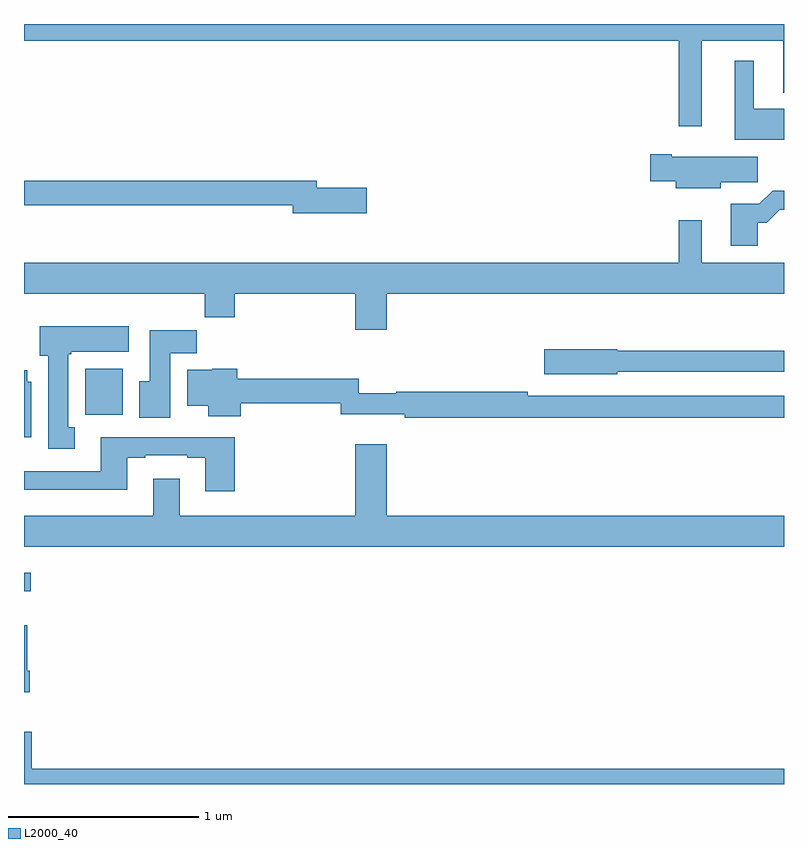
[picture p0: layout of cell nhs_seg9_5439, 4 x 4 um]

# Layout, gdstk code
import gdstk
lib = gdstk.Library(unit=1e-6, precision=1e-09)
def R(c, l, rs):  # rectangles x0, y0, x1, y1
    for r in rs: c.add(gdstk.rectangle(r[:2], r[2:], *l))
def P(c, l, *ps):  # polygons
    for p in ps: c.add(gdstk.Polygon(p, *l))
L2000_40 = (2000, 40)

nhs_seg9_5439 = lib.new_cell('nhs_seg9_5439')
R(nhs_seg9_5439, L2000_40, [(427,1201.515,427.036,1201.612), (427.322,1202.444,427.519,1202.686)])
P(nhs_seg9_5439, L2000_40, [(430.567,1204.412),(430.997,1204.412),(430.997,1204.139),(431,1204.139),(431,1204.5),(427,1204.5),(427,1204.412),(430.446,1204.412),(430.446,1203.963),(430.567,1203.963)],
  [(431,1204.054),(430.84,1204.054),(430.84,1204.306),(430.742,1204.306),(430.742,1203.89),(431,1203.89)],
  [(430.666,1203.667),(430.861,1203.667),(430.861,1203.802),(430.408,1203.802),(430.408,1203.815),(430.296,1203.815),(430.296,1203.673),(430.43,1203.673),(430.43,1203.635),(430.666,1203.635)],
  [(428.803,1203.638),(428.542,1203.638),(428.542,1203.674),(427,1203.674),(427,1203.546),(428.414,1203.546),(428.414,1203.503),(428.803,1203.503)],
  [(430.861,1203.455),(430.91,1203.455),(430.977,1203.522),(431,1203.522),(431,1203.623),(430.94,1203.623),(430.87,1203.553),(430.721,1203.553),(430.721,1203.333),(430.861,1203.333)],
  [(428.908,1203.08),(431,1203.08),(431,1203.244),(430.567,1203.244),(430.567,1203.466),(430.446,1203.466),(430.446,1203.244),(427,1203.244),(427,1203.08),(427.951,1203.08),(427.951,1202.956),(428.108,1202.956),(428.108,1203.08),(428.744,1203.08),(428.744,1202.892),(428.908,1202.892)],
  [(427.267,1202.378),(427.234,1202.378),(427.234,1202.761),(427.248,1202.761),(427.248,1202.774),(427.552,1202.774),(427.552,1202.908),(427.082,1202.908),(427.082,1202.754),(427.127,1202.754),(427.127,1202.265),(427.267,1202.265)],
  [(427.771,1202.768),(427.91,1202.768),(427.91,1202.887),(427.661,1202.887),(427.661,1202.62),(427.607,1202.62),(427.607,1202.427),(427.771,1202.427)],
  [(430.122,1202.67),(431,1202.67),(431,1202.779),(430.122,1202.779),(430.122,1202.787),(429.738,1202.787),(429.738,1202.657),(430.122,1202.657)],
  [(431,1202.544),(429.65,1202.544),(429.65,1202.564),(428.96,1202.564),(428.96,1202.557),(428.763,1202.557),(428.763,1202.632),(428.123,1202.632),(428.123,1202.686),(427.992,1202.686),(427.992,1202.68),(427.859,1202.68),(427.859,1202.492),(427.97,1202.492),(427.97,1202.435),(428.141,1202.435),(428.141,1202.503),(428.667,1202.503),(428.667,1202.447),(429.004,1202.447),(429.004,1202.428),(431,1202.428)],
  [(427.039,1202.616),(427.018,1202.616),(427.018,1202.677),(427,1202.677),(427,1202.324),(427.039,1202.324)],
  [(428.108,1202.325),(427.403,1202.325),(427.403,1202.145),(427,1202.145),(427,1202.048),(427.543,1202.048),(427.543,1202.217),(427.639,1202.217),(427.639,1202.229),(427.859,1202.229),(427.859,1202.217),(427.955,1202.217),(427.955,1202.04),(428.108,1202.04)],
  [(431,1201.912),(428.908,1201.912),(428.908,1202.287),(428.744,1202.287),(428.744,1201.912),(427.819,1201.912),(427.819,1202.107),(427.679,1202.107),(427.679,1201.912),(427,1201.912),(427,1201.748),(431,1201.748)],
  [(427.031,1201.096),(427.018,1201.096),(427.018,1201.336),(427,1201.336),(427,1200.984),(427.031,1200.984)],
  [(431,1200.58),(427.04,1200.58),(427.04,1200.775),(427,1200.775),(427,1200.5),(431,1200.5)])

lib.write_gds('nhs_seg9_5439.gds')
